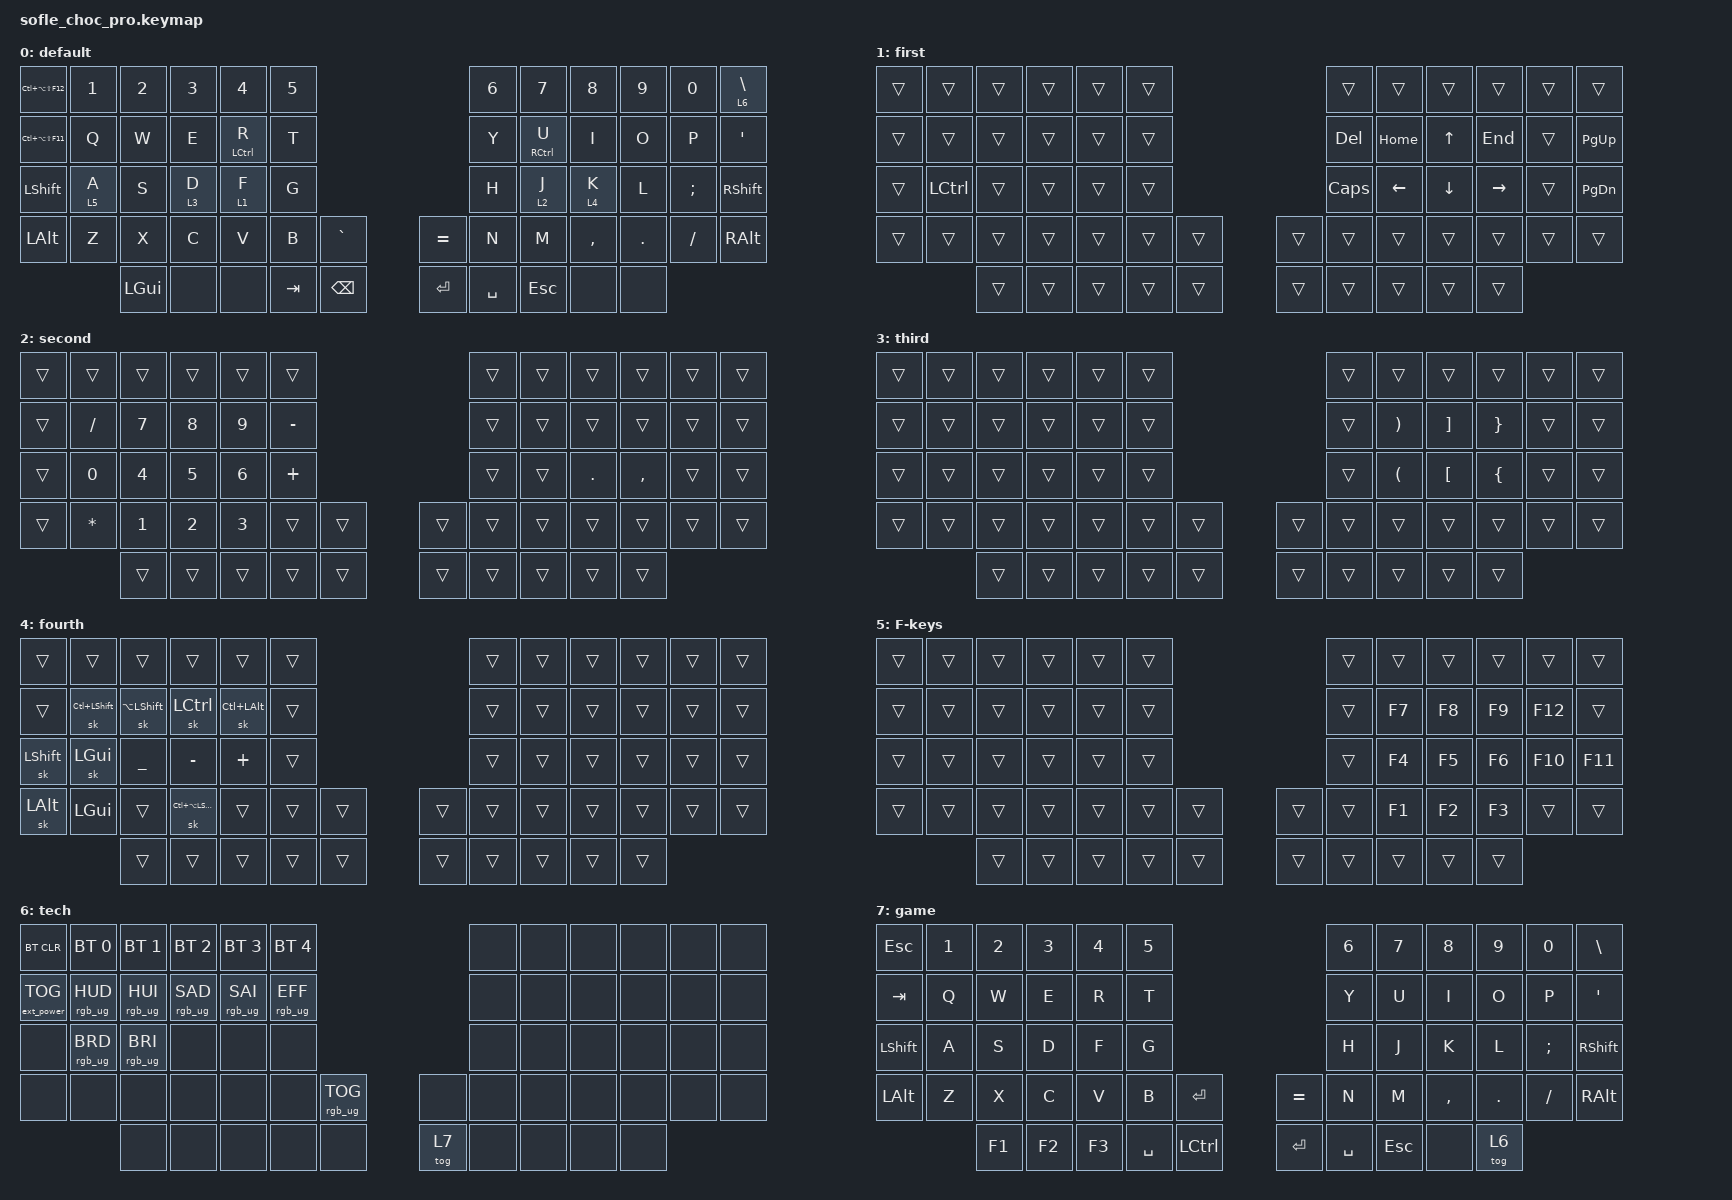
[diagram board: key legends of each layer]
/*
* Copyright (c) 2020 The ZMK Contributors
*
* SPDX-License-Identifier: MIT
*/

#include <behaviors.dtsi>
#include <dt-bindings/zmk/keys.h>
#include <dt-bindings/zmk/bt.h>
#include <dt-bindings/zmk/rgb.h>
#include <dt-bindings/zmk/ext_power.h>

&sk {
  release-after-ms = <2000>;
  ignore-modifiers;
};

&lt {
  flavor = "balanced";
  tapping-term-ms = <191>;
};

/ {
    combos {
        compatible = "zmk,combos";
        combo_esc {
            timeout-ms = <47>;
            key-positions = <28 31>;
            bindings = <&kp ESC>;
        };
    };

    behaviors {
        mt: mod_tap {
            compatible = "zmk,behavior-hold-tap";
            #binding-cells = <2>;
            flavor = "balanced";
            tapping-term-ms = <191>;
            bindings = <&kp>, <&kp>;
            display-name = "Mod-Tap";
        };

        hml: home_row_mod_left {
            compatible = "zmk,behavior-hold-tap";
            #binding-cells = <2>;
            flavor = "balanced";
            require-prior-idle-ms = <123>;
            tapping-term-ms = <191>;
            quick-tap-ms = <149>;
            bindings = <&kp>, <&kp>;
            hold-trigger-key-positions = <6 7 8 9 10 11 18 19 20 21 22 23 30 31 32 33 34 35 43 44 45 46 47 48 49 55 56 57 58 59>; // List of keys on the right side of the keyboard
            hold-trigger-on-release;
        };
        hmr: home_row_mod_right {
            compatible = "zmk,behavior-hold-tap";
            #binding-cells = <2>;
            flavor = "balanced";
            require-prior-idle-ms = <123>;
            tapping-term-ms = <191>;
            quick-tap-ms = <149>;
            bindings = <&kp>, <&kp>;
            hold-trigger-key-positions = <0 1 2 3 4 5 12 13 14 15 16 17 24 25 26 27 28 29 36 37 38 39 40 41 42 50 51 52 53 54>; // List of keys on the left side of the keyboard
            hold-trigger-on-release;
        };
    };

  keymap {
    compatible = "zmk,keymap";

    default_layer {
      display-name = "default";
      // ------------------------------------------------------------------------------------------------------------
      // |   `   |  1  |  2  |  3   |  4   |  5   |                   |  6   |  7    |  8    |  9   |   0   |   `   |
      // |  ESC  |  Q  |  W  |  E   |  R   |  T   |                   |  Y   |  U    |  I    |  O   |   P   | BKSPC |
      // |  TAB  |  A  |  S  |  D   |  F   |  G   |                   |  H   |  J    |  K    |  L   |   ;   |   '   |
      // | SHIFT |  Z  |  X  |  C   |  V   |  B   |  MUTE  |  | PLAY  |  N   |  M    |  ,    |  .   |   /   | SHIFT |
      //               | GUI | ALT  | CTRL | LOWER|  ENTER |  | SPACE | RAISE| CTRL  | ALT   | GUI  |
      bindings = <
        &kp LC(LA(LS(F12))) &kp N1 &kp N2   &kp N3   &kp N4          &kp N5                           &kp N6 &kp N7          &kp N8    &kp N9   &kp N0   &lt 6 BSLH
        &kp LC(LA(LS(F11))) &kp Q  &kp W    &kp E    &hml LCTRL R     &kp T                            &kp Y  &hmr RCTRL U     &kp I     &kp O    &kp P    &kp SQT
        &kp LSHFT           &lt 5 A  &kp S    &lt 3 D    &lt 1 F     &kp G                             &kp H  &lt 2 J     &lt 4 K   &kp L    &kp SEMI &kp RSHFT
        &kp LALT            &kp Z  &kp X    &kp C    &kp V     &kp B   &kp GRAVE &kp EQUAL     &kp N  &kp M     &kp COMMA &kp DOT  &kp FSLH &kp RALT
        &kp LGUI &none &none &kp TAB  &kp BSPC                                                 &kp RET  &kp SPACE &kp ESC &none &none 
      >;
    };

    first_layer {
      display-name = "first";
      // ------------------------------------------------------------------------------------------------------------
      // |       |  F1 |  F2 |  F3  |  F4  |  F5  |                   |  F6  |  F7   |  F8   |  F9  |  F10  |  F11  |
      // |   `   |  1  |  2  |  3   |  4   |  5   |                   |  6   |  7    |  8    |  9   |   0   |  F12  |
      // |       |  !  |  @  |  #   |  $   |  %   |                   |  ^   |  &    |  *    |  (   |   )   |   |   |
      // |       |  =  |  -  |  +   |  {   |  }   |        |  |       |  [   |  ]    |  ;    |  :   |   \   |       |
      //               |     |      |      |      |        |  |       |      |       |       |      |
      bindings = <
        &trans    &trans    &trans   &trans       &trans    &trans                   &trans    &trans   &trans    &trans    &trans   &trans
        &trans    &trans    &trans   &trans       &trans    &trans                   &kp DEL   &kp HOME &kp UP    &kp END    &trans    &kp PG_UP
        &trans    &kp LCTRL &trans   &trans    &trans    &trans                   &kp CAPS &kp LEFT &kp DOWN &kp RIGHT  &trans  &kp PG_DN
        &trans    &trans    &trans   &trans       &trans    &trans   &trans    &trans  &trans  &trans &trans  &trans &trans  &trans
        &trans    &trans      &trans    &trans     &trans &trans  &trans       &trans   &trans    &trans
      >;
    };

    second_layer {
      display-name = "second";
      // ------------------------------------------------------------------------------------------------------------
      // | BTCLR | BT1  | BT2  |  BT3  |  BT4  |  BT5 |                |      |      |       |      |       |       |
      // |       | INS  | PSCR | GUI   |       |      |                | PGUP |      |   ^   |      |       |       |
      // |       | ALT  | CTRL | SHIFT |       | CAPS |                | PGDN |   <- |   v   |  ->  |  DEL  | BKSPC |
      // |       | UNDO | CUT  | COPY  | PASTE |      |      |  |      |      |      |       |      |       |       |
      //                |      |       |       |      |      |  |      |      |      |       |      |
      bindings = <
        &trans    &trans    &trans   &trans       &trans    &trans                   &trans &trans &trans &trans &trans &trans
        &trans    &kp FSLH    &kp N7   &kp N8       &kp N9    &kp MINUS              &trans &trans &trans &trans &trans &trans 
        &trans    &kp N0    &kp N4   &kp N5    &kp N6    &kp PLUS                    &trans &trans &kp DOT &kp COMMA &trans &trans 
        &trans    &kp STAR    &kp N1   &kp N2       &kp N3    &trans   &trans &trans &trans &trans &trans &trans &trans &trans 
        &trans    &trans      &trans    &trans     &trans &trans  &trans       &trans   &trans    &trans
      >;
    };

    third_layer {
      display-name = "third";
      // ------------------------------------------------------------------------------------------------------------
      // |       |  F1 |  F2 |  F3  |  F4  |  F5  |                   |  F6  |  F7   |  F8   |  F9  |  F10  |  F11  |
      // |   `   |  1  |  2  |  3   |  4   |  5   |                   |  6   |  7    |  8    |  9   |   0   |  F12  |
      // |       |  !  |  @  |  #   |  $   |  %   |                   |  ^   |  &    |  *    |  (   |   )   |   |   |
      // |       |  =  |  -  |  +   |  {   |  }   |        |  |       |  [   |  ]    |  ;    |  :   |   \   |       |
      //               |     |      |      |      |        |  |       |      |       |       |      |
      bindings = <
        &trans    &trans    &trans   &trans       &trans    &trans                   &trans &trans &trans &trans &trans &trans
        &trans    &trans    &trans   &trans       &trans    &trans                   &trans   &kp RPAR &kp RBKT    &kp RBRC    &trans    &trans
        &trans    &trans    &trans   &trans       &trans    &trans                   &trans   &kp LPAR &kp LBKT &kp LBRC  &trans  &trans
        &trans    &trans    &trans   &trans       &trans    &trans   &trans    &trans  &trans &trans &trans &trans &trans &trans
        &trans    &trans      &trans    &trans     &trans &trans  &trans       &trans   &trans    &trans
      >;
    };

    fourth_layer {
      display-name = "fourth";
      // ------------------------------------------------------------------------------------------------------------
      // | BTCLR | BT1  | BT2  |  BT3  |  BT4  |  BT5 |                |      |      |       |      |       |       |
      // |       | INS  | PSCR | GUI   |       |      |                | PGUP |      |   ^   |      |       |       |
      // |       | ALT  | CTRL | SHIFT |       | CAPS |                | PGDN |   <- |   v   |  ->  |  DEL  | BKSPC |
      // |       | UNDO | CUT  | COPY  | PASTE |      |      |  |      |      |      |       |      |       |       |
      //                |      |       |       |      |      |  |      |      |      |       |      |
      bindings = <
        &trans    &trans    &trans   &trans       &trans    &trans                   &trans &trans &trans &trans &trans &trans
        &trans    &sk LC(LSHFT)    &sk LA(LSHFT)   &sk LCTRL &sk LC(LALT)    &trans              &trans &trans &trans &trans &trans &trans 
        &sk LSHFT &sk LGUI    &kp UNDER    &kp MINUS   &kp PLUS    &trans                    &trans &trans &trans &trans &trans &trans 
        &sk LALT  &kp LGUI    &trans   &sk LC(LA(LSHFT))      &trans    &trans   &trans &trans &trans &trans &trans &trans &trans &trans 
        &trans    &trans      &trans    &trans     &trans &trans  &trans       &trans   &trans    &trans
      >;
    };

    fifth_layer {
      display-name = "F-keys";
      bindings = <
        &trans    &trans    &trans   &trans       &trans    &trans                   &trans &trans &trans &trans &trans &trans
        &trans    &trans    &trans   &trans       &trans    &trans                   &trans   &kp F7 &kp F8 &kp F9  &kp F12 &trans
        &trans    &trans    &trans   &trans       &trans    &trans                   &trans   &kp F4 &kp F5 &kp F6  &kp F10 &kp F11
        &trans    &trans    &trans   &trans       &trans    &trans   &trans    &trans  &trans &kp F1 &kp F2 &kp F3  &trans &trans
        &trans    &trans      &trans    &trans     &trans &trans  &trans       &trans   &trans    &trans
      >;
    };

    sixth_layer {
      // ----------------------------------------------------------------------------------------------------------------------------
      // | BTCLR  |  BT1    |  BT2    |   BT3   |   BT4   |   BT5   |                  |      |      |       |      |       |       |
      // | EXTPWR | RGB_HUD | RGB_HUI | RGB_SAD | RGB_SAI | RGB_EFF |                  |      |      |       |      |       |       |
      // |        | RGB_BRD | RGB_BRI |         |         |         |                  |      |      |       |      |       |       |
      // |        |         |         |         |         |         | RGB_TOG | |      |      |      |       |      |       |       |
      //                    |         |         |         |         |         | |      |      |      |       |      |
      display-name = "tech";
      bindings = <
        &bt BT_CLR        &bt BT_SEL 0    &bt BT_SEL 1    &bt BT_SEL 2    &bt BT_SEL 3    &bt BT_SEL 4                            &none &none &none &none &none &none
        &ext_power EP_TOG &rgb_ug RGB_HUD &rgb_ug RGB_HUI &rgb_ug RGB_SAD &rgb_ug RGB_SAI &rgb_ug RGB_EFF                         &none &none &none &none &none &none
        &none             &rgb_ug RGB_BRD &rgb_ug RGB_BRI &none           &none           &none                                   &none &none &none &none &none &none
        &none             &none           &none           &none           &none           &none            &rgb_ug RGB_TOG &none  &none &none &none &none &none &none
        &none           &none           &none           &none            &none           &tog 7  &none &none &none &none
      >;
    };

    seventh_layer {
      display-name = "game";
      // ------------------------------------------------------------------------------------------------------------
      // |   `   |  1  |  2  |  3   |  4   |  5   |                   |  6   |  7    |  8    |  9   |   0   |   `   |
      // |  ESC  |  Q  |  W  |  E   |  R   |  T   |                   |  Y   |  U    |  I    |  O   |   P   | BKSPC |
      // |  TAB  |  A  |  S  |  D   |  F   |  G   |                   |  H   |  J    |  K    |  L   |   ;   |   '   |
      // | SHIFT |  Z  |  X  |  C   |  V   |  B   |  MUTE  |  | PLAY  |  N   |  M    |  ,    |  .   |   /   | SHIFT |
      //               | GUI | ALT  | CTRL | LOWER|  ENTER |  | SPACE | RAISE| CTRL  | ALT   | GUI  |
      bindings = <
        &kp ESC &kp N1 &kp N2   &kp N3   &kp N4 &kp N5                           &kp N6 &kp N7          &kp N8    &kp N9   &kp N0   &kp BSLH
        &kp TAB &kp Q  &kp W    &kp E    &kp R     &kp T                            &kp Y  &kp U     &kp I     &kp O    &kp P    &kp SQT
        &kp LSHFT           &kp A  &kp S    &kp D    &kp F     &kp G                             &kp H  &kp J     &kp K   &kp L    &kp SEMI &kp RSHFT
        &kp LALT            &kp Z  &kp X    &kp C    &kp V     &kp B   &kp RET    &kp EQUAL     &kp N  &kp M     &kp COMMA &kp DOT  &kp FSLH &kp RALT
        &kp F1 &kp F2 &kp F3 &kp SPACE  &kp LCTRL                                   &kp RET  &kp SPACE &kp ESC &none &tog 6
      >;
    };
  };
};
